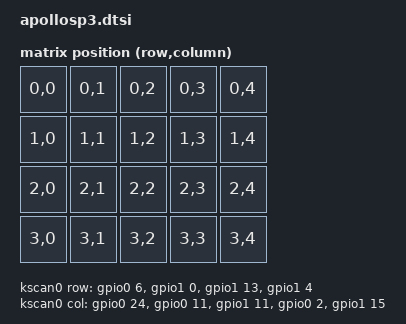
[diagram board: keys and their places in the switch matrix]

#include <dt-bindings/zmk/matrix_transform.h>

/ {
    chosen {
        zmk,kscan = &kscan0;
        zmk,matrix-transform = &default_transform;
        zmk,physical-layout = &physical_layout0;
    };

    default_transform: key_transform_0 {
        compatible = "zmk,matrix-transform";
        columns = <5>;
        rows = <4>;
        map = <
            RC(0,0) RC(0,1) RC(0,2) RC(0,3) RC(0,4)
            RC(1,0) RC(1,1) RC(1,2) RC(1,3) RC(1,4)
            RC(2,0) RC(2,1) RC(2,2) RC(2,3) RC(2,4)
            RC(3,0) RC(3,1) RC(3,2) RC(3,3) RC(3,4)
        >;
    };

    physical_layout0: physical_layout_0 {
        compatible = "zmk,physical-layout";
        display-name = "ApolloSP3";
        transform = <&default_transform>; 
    };

    kscan0: kscan {
        compatible = "zmk,kscan-gpio-matrix";
        wakeup-source;
        diode-direction = "row2col";
        row-gpios
            = <&gpio0 6  (GPIO_ACTIVE_LOW | GPIO_PULL_UP)>
            , <&gpio1 0  (GPIO_ACTIVE_LOW | GPIO_PULL_UP)>
            , <&gpio1 13 (GPIO_ACTIVE_LOW | GPIO_PULL_UP)>
            , <&gpio1 4  (GPIO_ACTIVE_LOW | GPIO_PULL_UP)>;
        col-gpios
            = <&gpio0 24 GPIO_ACTIVE_LOW>
            , <&gpio0 11 GPIO_ACTIVE_LOW>
            , <&gpio1 11 GPIO_ACTIVE_LOW>
            , <&gpio0 2  GPIO_ACTIVE_LOW>
            , <&gpio1 15 GPIO_ACTIVE_LOW>;
    };
};
